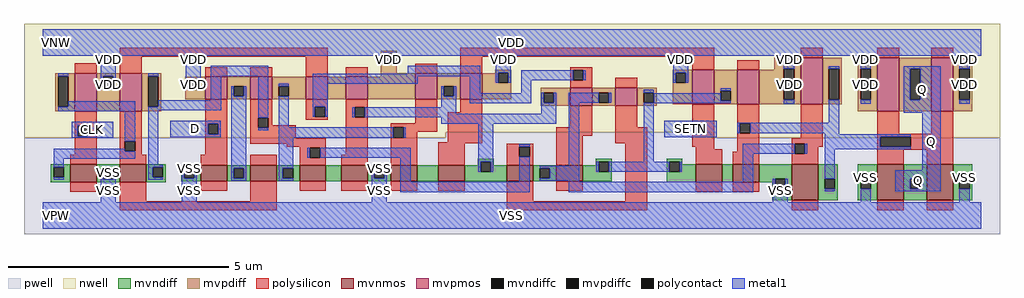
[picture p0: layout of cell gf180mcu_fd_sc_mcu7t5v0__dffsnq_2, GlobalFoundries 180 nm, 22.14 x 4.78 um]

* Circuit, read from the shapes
.subckt gf180mcu_fd_sc_mcu7t5v0__dffsnq_2 D SETN CLK Q VDD VNW VPW VSS
XM1 VSS CLK n1 VPW nfet_06v0 w=0.405u l=0.6u
XM2 n2 n1 VSS VPW nfet_06v0 w=0.405u l=0.6u
XM3 n3 D VSS VPW nfet_06v0 w=0.36u l=0.6u
XM4 n4 n1 n3 VPW nfet_06v0 w=0.36u l=0.6u
XM5 n5 n2 n4 VPW nfet_06v0 w=0.36u l=0.6u
XM6 VSS n6 n5 VPW nfet_06v0 w=0.36u l=0.6u
XM7 n7 n4 VSS VPW nfet_06v0 w=0.36u l=0.6u
XM8 n6 SETN n7 VPW nfet_06v0 w=0.36u l=0.6u
XM9 n8 n2 n6 VPW nfet_06v0 w=0.36u l=0.6u
XM10 n9 n1 n8 VPW nfet_06v0 w=0.36u l=0.6u
XM11 n10 SETN n9 VPW nfet_06v0 w=0.405u l=0.6u
XM12 VSS n11 n10 VPW nfet_06v0 w=0.405u l=0.6u
XM13 n11 n8 VSS VPW nfet_06v0 w=0.815u l=0.6u
XM14 Q n11 VSS VPW nfet_06v0 w=0.815u l=0.6u m=2
XM15 VDD CLK n1 VNW pfet_06v0 w=0.865u l=0.5u
XM16 n2 n1 VDD VNW pfet_06v0 w=0.865u l=0.5u
XM17 n3 D VDD VNW pfet_06v0 w=0.505u l=0.5u
XM18 n4 n2 n3 VNW pfet_06v0 w=0.505u l=0.5u
XM19 n12 n1 n4 VNW pfet_06v0 w=0.505u l=0.5u
XM20 VDD n6 n12 VNW pfet_06v0 w=0.505u l=0.5u
XM21 n6 n4 VDD VNW pfet_06v0 w=0.585u l=0.5u
XM22 VDD SETN n6 VNW pfet_06v0 w=0.585u l=0.5u
XM23 n8 n1 n6 VNW pfet_06v0 w=0.415u l=0.5u
XM24 n9 n2 n8 VNW pfet_06v0 w=0.415u l=0.5u
XM25 n9 SETN VDD VNW pfet_06v0 w=0.78u l=0.5u
XM26 VDD n11 n9 VNW pfet_06v0 w=0.78u l=0.5u
XM27 n11 n8 VDD VNW pfet_06v0 w=1.055u l=0.5u
XM28 Q n11 VDD VNW pfet_06v0 w=1.215u l=0.5u m=2
.ends

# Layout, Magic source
magic
tech gf180mcuD
magscale 1 10
<< nwell >>
rect -86 377 4342 870
rect -86 352 1827 377
rect 3033 352 4342 377
<< pwell >>
rect 1827 352 3033 377
rect -86 -86 4342 352
<< mvnmos >>
rect 124 151 244 232
rect 348 151 468 232
rect 716 156 836 228
rect 940 156 1060 228
rect 1164 156 1284 228
rect 1353 156 1473 228
rect 1577 156 1697 228
rect 1793 156 1913 228
rect 2105 156 2225 228
rect 2329 156 2449 228
rect 2961 151 3081 232
rect 3129 151 3249 232
rect 3397 69 3517 232
rect 3785 69 3905 232
rect 4009 69 4129 232
<< mvpmos >>
rect 144 472 244 645
rect 348 472 448 645
rect 736 527 836 628
rect 940 527 1040 628
rect 1193 527 1293 628
rect 1373 527 1473 628
rect 1689 527 1789 644
rect 1893 527 1993 644
rect 2393 497 2493 580
rect 2597 497 2697 580
rect 2945 504 3045 660
rect 3149 504 3249 660
rect 3437 504 3537 715
rect 3785 472 3885 715
rect 4029 472 4129 715
<< mvndiff >>
rect 36 219 124 232
rect 36 173 49 219
rect 95 173 124 219
rect 36 151 124 173
rect 244 210 348 232
rect 244 164 273 210
rect 319 164 348 210
rect 244 151 348 164
rect 468 219 556 232
rect 1973 244 2045 257
rect 1973 228 1986 244
rect 468 173 497 219
rect 543 173 556 219
rect 468 151 556 173
rect 628 215 716 228
rect 628 169 641 215
rect 687 169 716 215
rect 628 156 716 169
rect 836 215 940 228
rect 836 169 865 215
rect 911 169 940 215
rect 836 156 940 169
rect 1060 215 1164 228
rect 1060 169 1089 215
rect 1135 169 1164 215
rect 1060 156 1164 169
rect 1284 156 1353 228
rect 1473 215 1577 228
rect 1473 169 1502 215
rect 1548 169 1577 215
rect 1473 156 1577 169
rect 1697 156 1793 228
rect 1913 198 1986 228
rect 2032 228 2045 244
rect 2509 244 2581 257
rect 2509 228 2522 244
rect 2032 198 2105 228
rect 1913 156 2105 198
rect 2225 215 2329 228
rect 2225 169 2254 215
rect 2300 169 2329 215
rect 2225 156 2329 169
rect 2449 198 2522 228
rect 2568 198 2581 244
rect 2449 156 2581 198
rect 2829 244 2901 257
rect 2829 198 2842 244
rect 2888 232 2901 244
rect 2888 198 2961 232
rect 2829 151 2961 198
rect 3081 151 3129 232
rect 3249 167 3397 232
rect 3249 151 3322 167
rect 3309 121 3322 151
rect 3368 121 3397 167
rect 3309 69 3397 121
rect 3517 167 3605 232
rect 3517 121 3546 167
rect 3592 121 3605 167
rect 3517 69 3605 121
rect 3697 167 3785 232
rect 3697 121 3710 167
rect 3756 121 3785 167
rect 3697 69 3785 121
rect 3905 167 4009 232
rect 3905 121 3934 167
rect 3980 121 4009 167
rect 3905 69 4009 121
rect 4129 167 4217 232
rect 4129 121 4158 167
rect 4204 121 4217 167
rect 4129 69 4217 121
<< mvpdiff >>
rect 56 632 144 645
rect 56 492 69 632
rect 115 492 144 632
rect 56 472 144 492
rect 244 632 348 645
rect 244 586 273 632
rect 319 586 348 632
rect 244 472 348 586
rect 448 632 536 645
rect 448 492 477 632
rect 523 492 536 632
rect 1533 735 1605 748
rect 1533 689 1546 735
rect 1592 689 1605 735
rect 1533 644 1605 689
rect 2053 647 2125 660
rect 2053 644 2066 647
rect 1533 628 1689 644
rect 646 615 736 628
rect 646 569 659 615
rect 705 569 736 615
rect 646 527 736 569
rect 836 586 940 628
rect 836 540 865 586
rect 911 540 940 586
rect 836 527 940 540
rect 1040 586 1193 628
rect 1040 540 1069 586
rect 1115 540 1193 586
rect 1040 527 1193 540
rect 1293 527 1373 628
rect 1473 527 1689 628
rect 1789 586 1893 644
rect 1789 540 1818 586
rect 1864 540 1893 586
rect 1789 527 1893 540
rect 1993 601 2066 644
rect 2112 601 2125 647
rect 1993 527 2125 601
rect 3317 665 3437 715
rect 3317 660 3362 665
rect 2857 647 2945 660
rect 2857 601 2870 647
rect 2916 601 2945 647
rect 2259 556 2393 580
rect 448 472 536 492
rect 2259 510 2272 556
rect 2318 510 2393 556
rect 2259 497 2393 510
rect 2493 556 2597 580
rect 2493 510 2522 556
rect 2568 510 2597 556
rect 2493 497 2597 510
rect 2697 556 2785 580
rect 2697 510 2726 556
rect 2772 510 2785 556
rect 2697 497 2785 510
rect 2857 504 2945 601
rect 3045 566 3149 660
rect 3045 520 3074 566
rect 3120 520 3149 566
rect 3045 504 3149 520
rect 3249 525 3362 660
rect 3408 525 3437 665
rect 3249 504 3437 525
rect 3537 665 3625 715
rect 3537 525 3566 665
rect 3612 525 3625 665
rect 3537 504 3625 525
rect 3697 665 3785 715
rect 3697 525 3710 665
rect 3756 525 3785 665
rect 3697 472 3785 525
rect 3885 665 4029 715
rect 3885 525 3934 665
rect 3980 525 4029 665
rect 3885 472 4029 525
rect 4129 665 4217 715
rect 4129 525 4158 665
rect 4204 525 4217 665
rect 4129 472 4217 525
<< mvndiffc >>
rect 49 173 95 219
rect 273 164 319 210
rect 497 173 543 219
rect 641 169 687 215
rect 865 169 911 215
rect 1089 169 1135 215
rect 1502 169 1548 215
rect 1986 198 2032 244
rect 2254 169 2300 215
rect 2522 198 2568 244
rect 2842 198 2888 244
rect 3322 121 3368 167
rect 3546 121 3592 167
rect 3710 121 3756 167
rect 3934 121 3980 167
rect 4158 121 4204 167
<< mvpdiffc >>
rect 69 492 115 632
rect 273 586 319 632
rect 477 492 523 632
rect 1546 689 1592 735
rect 659 569 705 615
rect 865 540 911 586
rect 1069 540 1115 586
rect 1818 540 1864 586
rect 2066 601 2112 647
rect 2870 601 2916 647
rect 2272 510 2318 556
rect 2522 510 2568 556
rect 2726 510 2772 556
rect 3074 520 3120 566
rect 3362 525 3408 665
rect 3566 525 3612 665
rect 3710 525 3756 665
rect 3934 525 3980 665
rect 4158 525 4204 665
<< polysilicon >>
rect 348 720 1293 760
rect 144 645 244 690
rect 348 645 448 720
rect 736 628 836 672
rect 940 628 1040 672
rect 1193 628 1293 720
rect 1373 628 1473 672
rect 1893 720 3045 760
rect 1689 644 1789 688
rect 1893 644 1993 720
rect 2393 659 2493 672
rect 2945 660 3045 720
rect 3437 715 3537 760
rect 3785 715 3885 760
rect 4029 715 4129 760
rect 3149 660 3249 704
rect 2393 613 2406 659
rect 2452 613 2493 659
rect 2393 580 2493 613
rect 2597 580 2697 624
rect 144 406 244 472
rect 144 360 157 406
rect 203 360 244 406
rect 144 276 244 360
rect 124 232 244 276
rect 348 336 448 472
rect 348 290 372 336
rect 418 290 448 336
rect 348 276 448 290
rect 736 415 836 527
rect 736 369 749 415
rect 795 369 836 415
rect 736 276 836 369
rect 940 443 1040 527
rect 940 397 977 443
rect 1023 410 1040 443
rect 1193 494 1293 527
rect 1193 448 1234 494
rect 1280 448 1293 494
rect 1193 435 1293 448
rect 1373 491 1473 527
rect 1373 445 1414 491
rect 1460 445 1473 491
rect 1023 397 1147 410
rect 940 351 1147 397
rect 940 324 1284 351
rect 1107 311 1284 324
rect 1164 307 1284 311
rect 348 232 468 276
rect 716 228 836 276
rect 940 228 1060 276
rect 1164 261 1211 307
rect 1257 261 1284 307
rect 1373 276 1473 445
rect 1689 419 1789 527
rect 1893 467 1993 527
rect 1164 228 1284 261
rect 1353 228 1473 276
rect 1577 399 1789 419
rect 1577 353 1590 399
rect 1636 379 1789 399
rect 1636 353 1697 379
rect 1577 228 1697 353
rect 1837 331 1993 467
rect 2393 401 2493 497
rect 1793 327 1993 331
rect 2329 361 2493 401
rect 2597 401 2697 497
rect 2945 415 3045 504
rect 1793 228 1913 327
rect 2105 311 2225 324
rect 2105 265 2162 311
rect 2208 265 2225 311
rect 2105 228 2225 265
rect 2329 228 2449 361
rect 2597 327 2741 401
rect 124 107 244 151
rect 348 64 468 151
rect 716 112 836 156
rect 940 64 1060 156
rect 1164 112 1284 156
rect 1353 112 1473 156
rect 1577 112 1697 156
rect 1793 112 1913 156
rect 348 24 1060 64
rect 2105 64 2225 156
rect 2329 112 2449 156
rect 2641 64 2741 327
rect 2945 369 2958 415
rect 3004 369 3045 415
rect 2945 311 3045 369
rect 2961 301 3045 311
rect 3149 419 3249 504
rect 3149 373 3162 419
rect 3208 373 3249 419
rect 2961 232 3081 301
rect 3149 288 3249 373
rect 3437 351 3537 504
rect 3129 232 3249 288
rect 3397 326 3537 351
rect 3397 280 3410 326
rect 3456 311 3537 326
rect 3785 370 3885 472
rect 4029 370 4129 472
rect 3785 357 4129 370
rect 3785 311 3798 357
rect 3938 311 4129 357
rect 3456 280 3517 311
rect 3397 232 3517 280
rect 3785 298 4129 311
rect 3785 232 3905 298
rect 4009 232 4129 298
rect 2961 107 3081 151
rect 3129 107 3249 151
rect 2105 24 2741 64
rect 3397 24 3517 69
rect 3785 24 3905 69
rect 4009 24 4129 69
<< polycontact >>
rect 2406 613 2452 659
rect 157 360 203 406
rect 372 290 418 336
rect 749 369 795 415
rect 977 397 1023 443
rect 1234 448 1280 494
rect 1414 445 1460 491
rect 1211 261 1257 307
rect 1590 353 1636 399
rect 2162 265 2208 311
rect 2958 369 3004 415
rect 3162 373 3208 419
rect 3410 280 3456 326
rect 3798 311 3938 357
<< metal1 >>
rect 0 735 4256 844
rect 0 724 1546 735
rect 69 632 115 645
rect 262 632 330 724
rect 262 586 273 632
rect 319 586 330 632
rect 477 632 523 645
rect 115 492 418 519
rect 69 472 418 492
rect 130 406 318 426
rect 130 360 157 406
rect 203 360 318 406
rect 130 353 318 360
rect 372 336 418 472
rect 49 290 372 302
rect 49 256 418 290
rect 648 615 716 724
rect 1535 689 1546 724
rect 1592 724 4256 735
rect 1592 689 1603 724
rect 648 569 659 615
rect 705 569 716 615
rect 762 632 1023 678
rect 1654 643 1983 678
rect 762 523 808 632
rect 523 492 808 523
rect 477 476 808 492
rect 854 540 865 586
rect 911 540 922 586
rect 49 219 95 256
rect 477 230 524 476
rect 578 415 806 430
rect 578 369 749 415
rect 795 369 806 415
rect 578 354 806 369
rect 477 219 543 230
rect 49 162 95 173
rect 262 164 273 210
rect 319 164 330 210
rect 262 60 330 164
rect 477 173 497 219
rect 854 215 922 540
rect 977 443 1023 632
rect 1223 632 1983 643
rect 1223 597 1700 632
rect 977 386 1023 397
rect 1069 586 1115 597
rect 1069 399 1115 540
rect 1223 494 1291 597
rect 1223 448 1234 494
rect 1280 448 1291 494
rect 1807 540 1818 586
rect 1864 540 1875 586
rect 1807 491 1875 540
rect 1937 555 1983 632
rect 2055 647 2123 724
rect 2055 601 2066 647
rect 2112 601 2123 647
rect 2169 613 2406 659
rect 2452 613 2463 659
rect 2859 647 2927 724
rect 2169 555 2215 613
rect 2859 601 2870 647
rect 2916 601 2927 647
rect 3362 665 3408 724
rect 2726 556 2772 569
rect 1937 508 2215 555
rect 2261 510 2272 556
rect 2318 510 2329 556
rect 1403 445 1414 491
rect 1460 462 1875 491
rect 2261 462 2329 510
rect 1460 445 2329 462
rect 1807 416 2329 445
rect 2386 510 2522 556
rect 2568 510 2579 556
rect 3074 566 3120 577
rect 2772 520 3074 555
rect 2772 510 3120 520
rect 477 162 543 173
rect 630 169 641 215
rect 687 169 698 215
rect 630 60 698 169
rect 854 169 865 215
rect 911 169 922 215
rect 854 158 922 169
rect 1069 353 1590 399
rect 1636 353 1647 399
rect 1069 215 1135 353
rect 1200 261 1211 307
rect 1257 261 1668 307
rect 1069 169 1089 215
rect 1069 158 1135 169
rect 1491 169 1502 215
rect 1548 169 1559 215
rect 1491 60 1559 169
rect 1622 152 1668 261
rect 1975 244 2043 416
rect 1975 198 1986 244
rect 2032 198 2043 244
rect 2162 311 2208 323
rect 2162 152 2208 265
rect 2386 226 2432 510
rect 2726 508 3120 510
rect 2726 244 2772 508
rect 3362 506 3408 525
rect 3566 665 3612 676
rect 2818 415 3057 430
rect 3566 421 3612 525
rect 3710 665 3756 724
rect 3710 506 3756 525
rect 3906 665 4074 676
rect 3906 525 3934 665
rect 3980 525 4074 665
rect 3906 466 4074 525
rect 4158 665 4204 724
rect 4158 506 4204 525
rect 2818 369 2958 415
rect 3004 369 3057 415
rect 3151 419 3612 421
rect 3151 373 3162 419
rect 3208 373 3612 419
rect 3151 372 3612 373
rect 2818 354 3057 369
rect 3546 368 3612 372
rect 3546 357 3938 368
rect 3176 280 3410 326
rect 3456 280 3467 326
rect 3176 279 3467 280
rect 3546 311 3798 357
rect 3546 300 3938 311
rect 2254 215 2432 226
rect 2300 169 2432 215
rect 2511 198 2522 244
rect 2568 198 2842 244
rect 2888 198 2899 244
rect 2254 158 2432 169
rect 1622 106 2208 152
rect 2386 152 2432 158
rect 3176 152 3222 279
rect 3546 167 3592 300
rect 3990 204 4074 466
rect 2386 106 3222 152
rect 3311 121 3322 167
rect 3368 121 3379 167
rect 3311 60 3379 121
rect 3546 110 3592 121
rect 3710 167 3756 178
rect 3710 60 3756 121
rect 3866 167 4074 204
rect 3866 121 3934 167
rect 3980 121 4074 167
rect 3866 110 4074 121
rect 4158 167 4204 178
rect 4158 60 4204 121
rect 0 -60 4256 60
<< labels >>
flabel metal1 s 578 354 806 430 0 FreeSans 600 0 0 0 D
port 1 nsew default input
flabel metal1 s 3906 466 4074 676 0 FreeSans 600 0 0 0 Q
port 4 nsew default output
flabel metal1 s 2818 354 3057 430 0 FreeSans 600 0 0 0 SETN
port 2 nsew default input
flabel metal1 s 1491 210 1559 215 0 FreeSans 600 0 0 0 VSS
port 8 nsew ground bidirectional abutment
flabel metal1 s 130 353 318 426 0 FreeSans 600 0 0 0 CLK
port 3 nsew clock input
flabel metal1 s 0 724 4256 844 0 FreeSans 600 0 0 0 VDD
port 5 nsew power bidirectional abutment
flabel nwell s 10 734 110 834 0 FreeSans 400 0 0 0 VNW
port 6 nsew power bidirectional
flabel pwell s 10 -50 110 50 0 FreeSans 400 0 0 0 VPW
port 7 nsew ground bidirectional
rlabel metal1 s 3990 204 4074 466 1 Q
port 4 nsew default output
rlabel metal1 s 3866 110 4074 204 1 Q
port 4 nsew default output
rlabel metal1 s 4158 689 4204 724 1 VDD
port 5 nsew power bidirectional abutment
rlabel metal1 s 3710 689 3756 724 1 VDD
port 5 nsew power bidirectional abutment
rlabel metal1 s 3362 689 3408 724 1 VDD
port 5 nsew power bidirectional abutment
rlabel metal1 s 2859 689 2927 724 1 VDD
port 5 nsew power bidirectional abutment
rlabel metal1 s 2055 689 2123 724 1 VDD
port 5 nsew power bidirectional abutment
rlabel metal1 s 1535 689 1603 724 1 VDD
port 5 nsew power bidirectional abutment
rlabel metal1 s 648 689 716 724 1 VDD
port 5 nsew power bidirectional abutment
rlabel metal1 s 262 689 330 724 1 VDD
port 5 nsew power bidirectional abutment
rlabel metal1 s 4158 601 4204 689 1 VDD
port 5 nsew power bidirectional abutment
rlabel metal1 s 3710 601 3756 689 1 VDD
port 5 nsew power bidirectional abutment
rlabel metal1 s 3362 601 3408 689 1 VDD
port 5 nsew power bidirectional abutment
rlabel metal1 s 2859 601 2927 689 1 VDD
port 5 nsew power bidirectional abutment
rlabel metal1 s 2055 601 2123 689 1 VDD
port 5 nsew power bidirectional abutment
rlabel metal1 s 648 601 716 689 1 VDD
port 5 nsew power bidirectional abutment
rlabel metal1 s 262 601 330 689 1 VDD
port 5 nsew power bidirectional abutment
rlabel metal1 s 4158 586 4204 601 1 VDD
port 5 nsew power bidirectional abutment
rlabel metal1 s 3710 586 3756 601 1 VDD
port 5 nsew power bidirectional abutment
rlabel metal1 s 3362 586 3408 601 1 VDD
port 5 nsew power bidirectional abutment
rlabel metal1 s 648 586 716 601 1 VDD
port 5 nsew power bidirectional abutment
rlabel metal1 s 262 586 330 601 1 VDD
port 5 nsew power bidirectional abutment
rlabel metal1 s 4158 569 4204 586 1 VDD
port 5 nsew power bidirectional abutment
rlabel metal1 s 3710 569 3756 586 1 VDD
port 5 nsew power bidirectional abutment
rlabel metal1 s 3362 569 3408 586 1 VDD
port 5 nsew power bidirectional abutment
rlabel metal1 s 648 569 716 586 1 VDD
port 5 nsew power bidirectional abutment
rlabel metal1 s 4158 506 4204 569 1 VDD
port 5 nsew power bidirectional abutment
rlabel metal1 s 3710 506 3756 569 1 VDD
port 5 nsew power bidirectional abutment
rlabel metal1 s 3362 506 3408 569 1 VDD
port 5 nsew power bidirectional abutment
rlabel metal1 s 630 210 698 215 1 VSS
port 8 nsew ground bidirectional abutment
rlabel metal1 s 1491 178 1559 210 1 VSS
port 8 nsew ground bidirectional abutment
rlabel metal1 s 630 178 698 210 1 VSS
port 8 nsew ground bidirectional abutment
rlabel metal1 s 262 178 330 210 1 VSS
port 8 nsew ground bidirectional abutment
rlabel metal1 s 4158 167 4204 178 1 VSS
port 8 nsew ground bidirectional abutment
rlabel metal1 s 3710 167 3756 178 1 VSS
port 8 nsew ground bidirectional abutment
rlabel metal1 s 1491 167 1559 178 1 VSS
port 8 nsew ground bidirectional abutment
rlabel metal1 s 630 167 698 178 1 VSS
port 8 nsew ground bidirectional abutment
rlabel metal1 s 262 167 330 178 1 VSS
port 8 nsew ground bidirectional abutment
rlabel metal1 s 4158 60 4204 167 1 VSS
port 8 nsew ground bidirectional abutment
rlabel metal1 s 3710 60 3756 167 1 VSS
port 8 nsew ground bidirectional abutment
rlabel metal1 s 3311 60 3379 167 1 VSS
port 8 nsew ground bidirectional abutment
rlabel metal1 s 1491 60 1559 167 1 VSS
port 8 nsew ground bidirectional abutment
rlabel metal1 s 630 60 698 167 1 VSS
port 8 nsew ground bidirectional abutment
rlabel metal1 s 262 60 330 167 1 VSS
port 8 nsew ground bidirectional abutment
rlabel metal1 s 0 -60 4256 60 1 VSS
port 8 nsew ground bidirectional abutment
<< properties >>
string FIXED_BBOX 0 0 4256 784
string GDS_END 1067222
string GDS_FILE $PDKPATH/libs.ref/gf180mcu_fd_sc_mcu7t5v0/gds/gf180mcu_fd_sc_mcu7t5v0.gds
string GDS_START 1057938
string LEFclass core
string LEFsite GF018hv5v_mcu_sc7
string LEFsymmetry X Y
<< end >>
